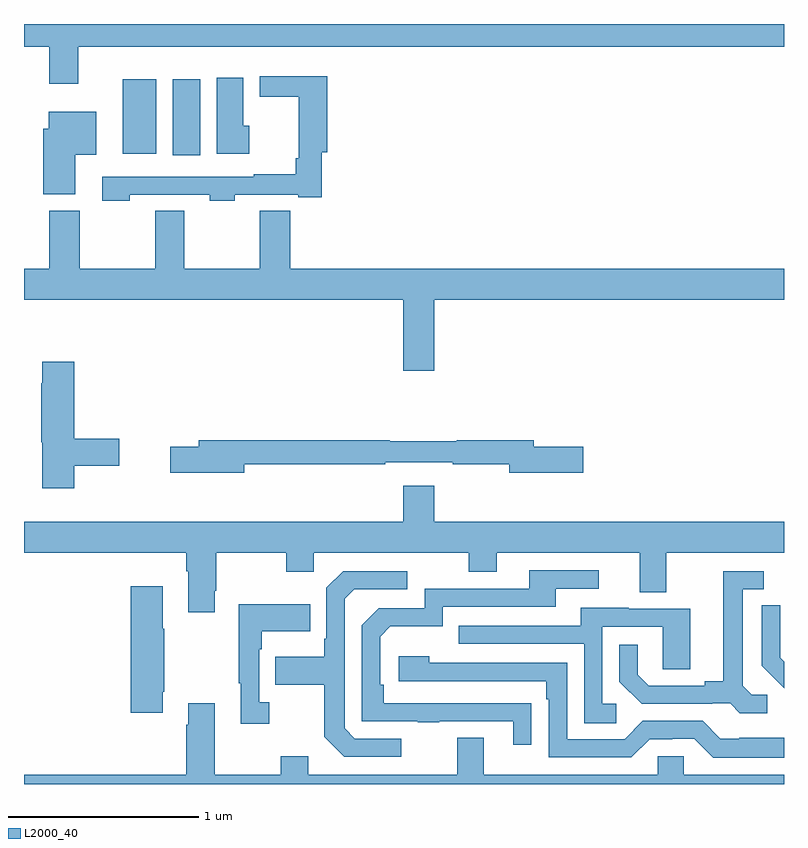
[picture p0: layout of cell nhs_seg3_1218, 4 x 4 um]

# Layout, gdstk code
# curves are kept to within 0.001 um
import gdstk
lib = gdstk.Library(unit=1e-6, precision=1e-09)
def R(c, l, rs):  # rectangles x0, y0, x1, y1
    for r in rs: c.add(gdstk.rectangle(r[:2], r[2:], *l))
def P(c, l, *ps):  # polygons
    for p in ps: c.add(gdstk.Polygon(p, *l))
L2000_40 = (2000, 40)

nhs_seg3_1218 = lib.new_cell('nhs_seg3_1218')
R(nhs_seg3_1218, L2000_40, [(175.784,669.708,175.927,670.108), (175.52,669.716,175.696,670.108)])
P(nhs_seg3_1218, L2000_40, [(175.285,670.28),(179,670.28),(179,670.4),(175,670.4),(175,670.28),(175.133,670.28),(175.133,670.086),(175.285,670.086)],
  [(175.557,669.501),(175.977,669.501),(175.977,669.469),(176.109,669.469),(176.109,669.501),(176.444,669.501),(176.444,669.489),(176.567,669.489),(176.567,669.725),(176.597,669.725),(176.597,670.126),(176.241,670.126),(176.241,670.017),(176.446,670.017),(176.446,669.694),(176.431,669.694),(176.431,669.61),(176.209,669.61),(176.209,669.597),(175.413,669.597),(175.413,669.469),(175.557,669.469)],
  [(176.185,669.864),(176.155,669.864),(176.155,670.117),(176.015,670.117),(176.015,669.716),(176.185,669.716)],
  [(175.27,669.713),(175.381,669.713),(175.381,669.937),(175.13,669.937),(175.13,669.849),(175.1,669.849),(175.1,669.503),(175.27,669.503)],
  [(177.16,668.948),(179,668.948),(179,669.112),(176.402,669.112),(176.402,669.416),(176.242,669.416),(176.242,669.112),(175.844,669.112),(175.844,669.416),(175.69,669.416),(175.69,669.112),(175.293,669.112),(175.293,669.418),(175.133,669.418),(175.133,669.112),(175,669.112),(175,668.948),(176.996,668.948),(176.996,668.574),(177.16,668.574)],
  [(175.265,668.074),(175.501,668.074),(175.501,668.216),(175.265,668.216),(175.265,668.623),(175.097,668.623),(175.097,668.51),(175.09,668.51),(175.09,668.199),(175.097,668.199),(175.097,667.956),(175.265,667.956)],
  [(176.158,668.082),(176.9,668.082),(176.9,668.094),(177.256,668.094),(177.256,668.082),(177.554,668.082),(177.554,668.039),(177.943,668.039),(177.943,668.174),(177.682,668.174),(177.682,668.21),(177.278,668.21),(177.278,668.203),(176.926,668.203),(176.926,668.21),(175.919,668.21),(175.919,668.174),(175.77,668.174),(175.77,668.039),(176.158,668.039)],
  [(175,667.616),(175.853,667.616),(175.853,667.52),(175.865,667.52),(175.865,667.305),(176.005,667.305),(176.005,667.417),(176.013,667.417),(176.013,667.616),(176.38,667.616),(176.38,667.517),(176.526,667.517),(176.526,667.616),(177.34,667.616),(177.34,667.517),(177.487,667.517),(177.487,667.616),(178.241,667.616),(178.241,667.408),(178.381,667.408),(178.381,667.616),(179,667.616),(179,667.78),(177.16,667.78),(177.16,667.969),(176.996,667.969),(176.996,667.78),(175,667.78)],
  [(177.671,666.824),(176.894,666.825),(176.894,666.922),(176.874,666.922),(176.874,667.176),(176.927,667.229),(177.204,667.229),(177.204,667.332),(177.799,667.332),(177.799,667.428),(178.024,667.428),(178.024,667.524),(177.659,667.524),(177.659,667.428),(177.108,667.428),(177.108,667.326),(176.868,667.326),(176.778,667.236),(176.778,666.729),(177.073,666.729),(177.073,666.724),(177.185,666.724),(177.185,666.729),(177.575,666.729),(177.575,666.606),(177.671,666.606)],
  [(176.986,666.639),(176.742,666.639),(176.688,666.693),(176.688,667.374),(176.739,667.425),(177.016,667.425),(177.016,667.521),(176.679,667.521),(176.592,667.434),(176.592,667.165),(176.58,667.165),(176.58,667.069),(176.323,667.069),(176.323,666.922),(176.58,666.922),(176.58,666.649),(176.685,666.543),(176.986,666.543)],
  [(178.912,666.87),(178.83,666.87),(178.783,666.917),(178.783,667.425),(178.894,667.425),(178.894,667.521),(178.679,667.521),(178.679,666.941),(178.583,666.941),(178.583,666.918),(178.288,666.918),(178.231,666.975),(178.231,667.132),(178.134,667.132),(178.134,666.938),(178.25,666.822),(178.622,666.822),(178.622,666.825),(178.716,666.825),(178.768,666.773),(178.912,666.773)],
  [(175.729,666.886),(175.737,666.886),(175.737,667.217),(175.729,667.217),(175.729,667.441),(175.562,667.441),(175.562,666.774),(175.729,666.774)],
  [(176.29,666.83),(176.238,666.83),(176.238,667.109),(176.251,667.109),(176.251,667.205),(176.507,667.205),(176.507,667.345),(176.13,667.345),(176.13,666.929),(176.141,666.929),(176.141,666.717),(176.29,666.717)],
  [(179,667.043),(178.979,667.064),(178.979,667.186),(178.98,667.186),(178.98,667.34),(178.884,667.34),(178.884,667.022),(178.957,666.949),(178.956,666.948),(179,666.904)],
  [(178.117,666.822),(178.044,666.822),(178.044,667.227),(178.362,667.227),(178.362,667.003),(178.507,667.003),(178.507,667.323),(178.183,667.323),(178.183,667.327),(177.929,667.327),(177.929,667.233),(177.289,667.233),(177.289,667.137),(177.948,667.137),(177.948,666.721),(178.117,666.721)],
  [(179,666.643),(178.765,666.643),(178.765,666.639),(178.665,666.639),(178.572,666.732),(178.257,666.732),(178.161,666.636),(177.858,666.636),(177.858,667.038),(177.134,667.038),(177.134,667.072),(176.973,667.072),(176.973,666.942),(177.749,666.942),(177.749,666.845),(177.762,666.845),(177.762,666.54),(178.197,666.54),(178.293,666.636),(178.412,666.636),(178.412,666.639),(178.527,666.639),(178.627,666.539),(179,666.539)],
  [(179,666.448),(178.473,666.448),(178.473,666.546),(178.335,666.546),(178.335,666.448),(177.421,666.448),(177.421,666.643),(177.281,666.643),(177.281,666.448),(176.497,666.448),(176.497,666.547),(176.35,666.547),(176.35,666.448),(176.005,666.448),(176.005,666.826),(175.865,666.826),(175.865,666.713),(175.853,666.713),(175.853,666.448),(175,666.448),(175,666.4),(179,666.4)])

lib.write_gds('nhs_seg3_1218.gds')
